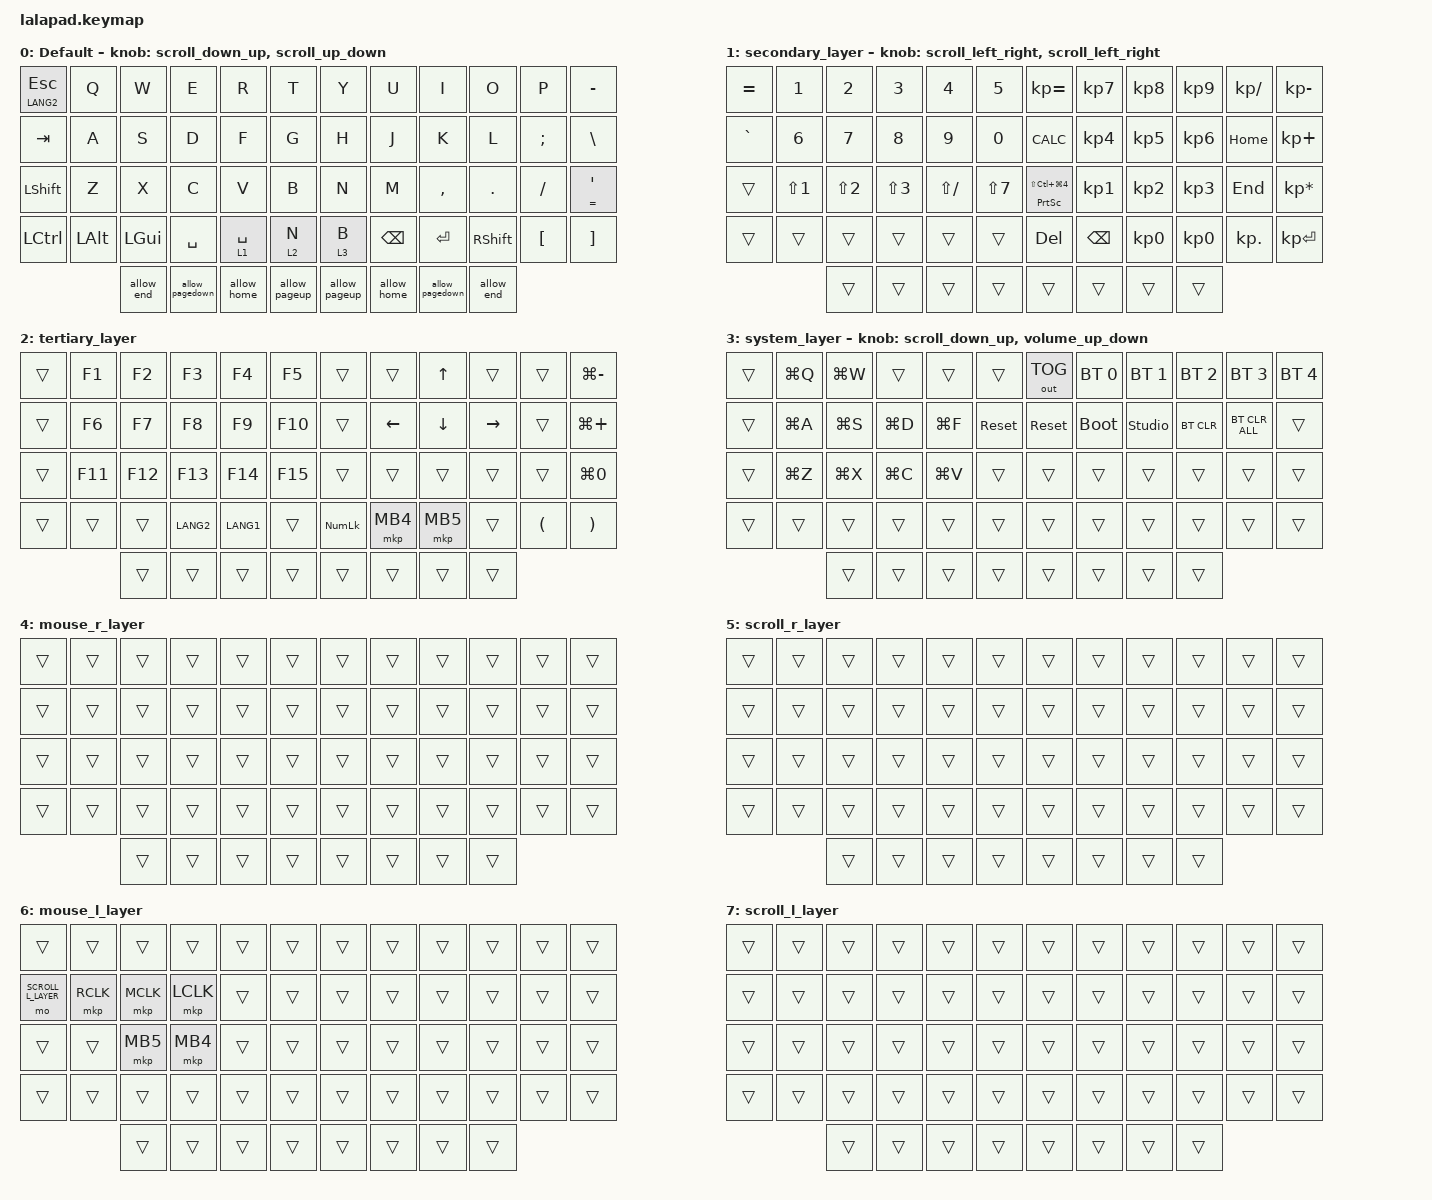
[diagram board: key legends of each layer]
#include <input/processors.dtsi>
#include <behaviors.dtsi>
#include <dt-bindings/zmk/bt.h>
#include <dt-bindings/zmk/keys.h>
#include <dt-bindings/zmk/outputs.h>
#include <dt-bindings/zmk/pointing.h>

#define DEFAULT_LAYER   0
#define SECONDARY_LAYER 1
#define TERTIARY_LAYER  2
#define SYSTEM_LAYER    3
#define MOUSE_R_LAYER   4
#define SCROLL_R_LAYER  5
#define MOUSE_L_LAYER   6
#define SCROLL_L_LAYER  7

// Mouse Scroll Value

#ifndef ZMK_POINTING_DEFAULT_SCRL_VAL

#define ZMK_POINTING_DEFAULT_SCRL_VAL 100

#endif

// cirque trackpad input&layer control

&glidepoint_listener_R {
    input-processors =
        <&zip_xy_transform (INPUT_TRANSFORM_XY_SWAP | INPUT_TRANSFORM_X_INVERT | INPUT_TRANSFORM_Y_INVERT)>,
        <&zip_xy_scaler 3 2>,
        <&zip_temp_layer MOUSE_R_LAYER 500>;

    lowspeedmode {
        layers = <SECONDARY_LAYER>;
        input-processors =
            <&zip_xy_transform (INPUT_TRANSFORM_XY_SWAP | INPUT_TRANSFORM_X_INVERT | INPUT_TRANSFORM_Y_INVERT)>,
            <&zip_xy_scaler 3 5>,
            <&zip_temp_layer MOUSE_R_LAYER 500>;
    };

    scroller {
        layers = <SCROLL_R_LAYER>;
        input-processors =
            <&zip_xy_to_scroll_mapper>,
            <&zip_scroll_transform (INPUT_TRANSFORM_XY_SWAP | INPUT_TRANSFORM_Y_INVERT)>,
            <&zip_scroll_scaler 1 8>;
    };
};

&glidepoint_listener_L {
    input-processors =
        <&zip_xy_transform (INPUT_TRANSFORM_XY_SWAP | INPUT_TRANSFORM_X_INVERT | INPUT_TRANSFORM_Y_INVERT)>,
        <&zip_xy_scaler 3 2>,
        <&zip_temp_layer MOUSE_L_LAYER 500>;

    lowspeedmode {
        layers = <SECONDARY_LAYER>;
        input-processors =
            <&zip_xy_transform (INPUT_TRANSFORM_XY_SWAP | INPUT_TRANSFORM_X_INVERT | INPUT_TRANSFORM_Y_INVERT)>,
            <&zip_xy_scaler 3 4>,
            <&zip_temp_layer MOUSE_L_LAYER 500>;
    };

    scroller {
        layers = <SCROLL_L_LAYER>;
        input-processors =
            <&zip_xy_to_scroll_mapper>,
            <&zip_scroll_transform (INPUT_TRANSFORM_XY_SWAP | INPUT_TRANSFORM_Y_INVERT)>,
            <&zip_scroll_scaler 1 6>;
    };
};

/ {
    behaviors {
        // Encoder to Mouse Scroll

        scroll_up_down: sensor_scroll_up_down {
            compatible = "zmk,behavior-sensor-rotate";
            #sensor-binding-cells = <0>;
            bindings = <&msc SCRL_UP>, <&msc SCRL_DOWN>;

            tap-ms = <20>;
            label = "SCROLL_UP_DOWN";
        };

        scroll_down_up: sensor_scroll_down_up {
            compatible = "zmk,behavior-sensor-rotate";
            #sensor-binding-cells = <0>;
            bindings = <&msc SCRL_DOWN>, <&msc SCRL_UP>;

            tap-ms = <20>;
            label = "SCROLL_DOWN_UP";
        };

        scroll_left_right: sensor_scroll_left_right {
            compatible = "zmk,behavior-sensor-rotate";
            #sensor-binding-cells = <0>;
            bindings = <&msc SCRL_LEFT>, <&msc SCRL_RIGHT>;

            tap-ms = <20>;
            label = "SCROLL_LEFT_RIGHT";
        };

        scroll_right_left: sensor_scroll_right_left {
            compatible = "zmk,behavior-sensor-rotate";
            #sensor-binding-cells = <0>;
            bindings = <&msc SCRL_RIGHT>, <&msc SCRL_LEFT>;

            tap-ms = <20>;
            label = "SCROLL_RIGHT_LEFT";
        };

        volume_up_down: sensor_volume_up_down {
            compatible = "zmk,behavior-sensor-rotate";
            #sensor-binding-cells = <0>;
            bindings = <&kp C_VOLUME_UP>, <&kp C_VOLUME_DOWN>;

            tap-ms = <20>;
            label = "VOLUME_UP_DOWN";
        };

        dot_comma: dot_comma {
            compatible = "zmk,behavior-mod-morph";
            #binding-cells = <0>;
            bindings = <&kp KP_DOT>, <&kp COMMA>;

            mods = <(MOD_LSFT|MOD_RSFT)>;
            label = "DOT_COMMA";
        };

        pls_minus: pls_minus {
            compatible = "zmk,behavior-mod-morph";
            #binding-cells = <0>;
            bindings = <&kp PLUS>, <&kp MINUS>;

            mods = <(MOD_LSFT|MOD_RSFT)>;
            label = "PLS_MINUS";
        };

        allow_pageup: allow_pageup {
            compatible = "zmk,behavior-mod-morph";
            #binding-cells = <0>;
            bindings = <&kp UP>, <&kp PAGE_UP>;

            mods = <(MOD_LCTL|MOD_RCTL)>;
            label = "ALLOW_PAGEUP";
        };

        allow_pagedown: allow_pagedown {
            compatible = "zmk,behavior-mod-morph";
            #binding-cells = <0>;
            bindings = <&kp DOWN>, <&kp PAGE_DOWN>;

            mods = <(MOD_LCTL|MOD_RCTL)>;
            label = "ALLOW_PAGEDOWN";
        };

        allow_home: allow_home {
            compatible = "zmk,behavior-mod-morph";
            #binding-cells = <0>;
            bindings = <&kp LEFT>, <&kp HOME>;

            mods = <(MOD_LCTL|MOD_RCTL)>;
            label = "ALLOW_HOME";
        };

        allow_end: allow_end {
            compatible = "zmk,behavior-mod-morph";
            #binding-cells = <0>;
            bindings = <&kp RIGHT>, <&kp END>;

            mods = <(MOD_LCTL|MOD_RCTL)>;
            label = "ALLOW_END";
        };

        mt2: mod_tap2 {
            compatible = "zmk,behavior-hold-tap";
            #binding-cells = <2>;
            flavor = "tap-preferred";
            tapping-term-ms = <200>;
            quick-tap-ms = <200>;
            require-prior-idle-ms = <125>;
            bindings = <&kp>, <&kp>;
        };
    };

    keymap {
        compatible = "zmk,keymap";

        DEFAULT_LAYER {
            display-name = "Default";
            sensor-bindings = <&scroll_down_up>, <&scroll_up_down>;

            bindings = <
&mt2 LANG2 ESC  &kp Q         &kp W         &kp E            &kp R        &kp T          &kp Y          &kp U          &kp I            &kp O            &kp P             &kp MINUS
&kp TAB         &kp A         &kp S         &kp D            &kp F        &kp G          &kp H          &kp J          &kp K            &kp L            &kp SEMI          &kp BSLH
&kp LSHFT       &kp Z         &kp X         &kp C            &kp V        &kp B          &kp N          &kp M          &kp COMMA        &kp PERIOD       &kp SLASH         &mt EQUAL SQT
&kp LCTRL       &kp LEFT_ALT  &kp LEFT_GUI  &kp SPACE        &lt 1 SPACE  &lt 2 N        &lt 3 B        &kp BACKSPACE  &kp RET          &kp RIGHT_SHIFT  &kp LEFT_BRACKET  &kp RIGHT_BRACKET
                              &allow_end    &allow_pagedown  &allow_home  &allow_pageup  &allow_pageup  &allow_home    &allow_pagedown  &allow_end
            >;
        };

        SECONDARY_LAYER {
            display-name = "secondary_layer";
            sensor-bindings = <&scroll_left_right>, <&scroll_left_right>;

            bindings = <
&kp EQUAL  &kp NUMBER_1      &kp NUMBER_2      &kp NUMBER_3      &kp NUMBER_4   &kp NUMBER_5  &kp KP_EQUAL                     &kp KP_NUMBER_7  &kp KP_NUMBER_8  &kp KP_NUMBER_9  &kp KP_DIVIDE  &kp KP_MINUS
&kp GRAVE  &kp NUMBER_6      &kp NUMBER_7      &kp NUMBER_8      &kp NUMBER_9   &kp NUMBER_0  &kp K_CALC                       &kp KP_NUMBER_4  &kp KP_NUMBER_5  &kp KP_NUMBER_6  &kp HOME       &kp KP_PLUS
&trans     &kp LS(NUMBER_1)  &kp LS(NUMBER_2)  &kp LS(NUMBER_3)  &kp LS(SLASH)  &kp LS(N7)    &mt2 PRINTSCREEN LS(LC(LG(N4)))  &kp KP_NUMBER_1  &kp KP_NUMBER_2  &kp KP_NUMBER_3  &kp END        &kp KP_ASTERISK
&trans     &trans            &trans            &trans            &trans         &trans        &kp DELETE                       &kp BACKSPACE    &kp KP_N0        &kp KP_NUMBER_0  &kp KP_DOT     &kp KP_ENTER
                             &trans            &trans            &trans         &trans        &trans                           &trans           &trans           &trans
            >;
        };

        TERTIARY_LAYER {
            display-name = "tertiary_layer";
            bindings = <
&trans  &kp F1   &kp F2   &kp F3     &kp F4     &kp F5   &trans          &trans          &kp UP_ARROW    &trans           &trans                &kp LG(MINUS)
&trans  &kp F6   &kp F7   &kp F8     &kp F9     &kp F10  &trans          &kp LEFT_ARROW  &kp DOWN_ARROW  &kp RIGHT_ARROW  &trans                &kp LG(PLUS)
&trans  &kp F11  &kp F12  &kp F13    &kp F14    &kp F15  &trans          &trans          &trans          &trans           &trans                &kp LG(NUMBER_0)
&trans  &trans   &trans   &kp LANG2  &kp LANG1  &trans   &kp KP_NUMLOCK  &mkp MB4        &mkp MB5        &trans           &kp LEFT_PARENTHESIS  &kp RIGHT_PARENTHESIS
                 &trans   &trans     &trans     &trans   &trans          &trans          &trans          &trans
            >;
        };

        SYSTEM_LAYER {
            display-name = "system_layer";
            sensor-bindings = <&scroll_down_up>, <&volume_up_down>;

            bindings = <
&trans  &kp LG(Q)  &kp LG(W)  &trans     &trans     &trans      &out OUT_TOG  &bt BT_SEL 0  &bt BT_SEL 1    &bt BT_SEL 2  &bt BT_SEL 3    &bt BT_SEL 4
&trans  &kp LG(A)  &kp LG(S)  &kp LG(D)  &kp LG(F)  &sys_reset  &sys_reset    &bootloader   &studio_unlock  &bt BT_CLR    &bt BT_CLR_ALL  &trans
&trans  &kp LG(Z)  &kp LG(X)  &kp LG(C)  &kp LG(V)  &trans      &trans        &trans        &trans          &trans        &trans          &trans
&trans  &trans     &trans     &trans     &trans     &trans      &trans        &trans        &trans          &trans        &trans          &trans
                   &trans     &trans     &trans     &trans      &trans        &trans        &trans          &trans
            >;
        };

        MOUSE_R_LAYER {
            display-name = "mouse_r_layer";
            bindings = <
&trans  &trans  &trans  &trans  &trans  &trans  &trans  &trans  &trans  &trans  &trans  &trans
&trans  &trans  &trans  &trans  &trans  &trans  &trans  &trans  &trans  &trans  &trans  &trans
&trans  &trans  &trans  &trans  &trans  &trans  &trans  &trans  &trans  &trans  &trans  &trans
&trans  &trans  &trans  &trans  &trans  &trans  &trans  &trans  &trans  &trans  &trans  &trans
                &trans  &trans  &trans  &trans  &trans  &trans  &trans  &trans
            >;
        };

        SCROLL_R_LAYER {
            display-name = "scroll_r_layer";
            bindings = <
&trans  &trans  &trans  &trans  &trans  &trans  &trans  &trans  &trans  &trans  &trans  &trans
&trans  &trans  &trans  &trans  &trans  &trans  &trans  &trans  &trans  &trans  &trans  &trans
&trans  &trans  &trans  &trans  &trans  &trans  &trans  &trans  &trans  &trans  &trans  &trans
&trans  &trans  &trans  &trans  &trans  &trans  &trans  &trans  &trans  &trans  &trans  &trans
                &trans  &trans  &trans  &trans  &trans  &trans  &trans  &trans
            >;
        };

        MOUSE_L_LAYER {
            display-name = "mouse_l_layer";
            bindings = <
&trans              &trans     &trans     &trans     &trans  &trans  &trans  &trans  &trans  &trans  &trans  &trans
&mo SCROLL_L_LAYER  &mkp RCLK  &mkp MCLK  &mkp LCLK  &trans  &trans  &trans  &trans  &trans  &trans  &trans  &trans
&trans              &trans     &mkp MB5   &mkp MB4   &trans  &trans  &trans  &trans  &trans  &trans  &trans  &trans
&trans              &trans     &trans     &trans     &trans  &trans  &trans  &trans  &trans  &trans  &trans  &trans
                               &trans     &trans     &trans  &trans  &trans  &trans  &trans  &trans
            >;
        };

        SCROLL_L_LAYER {
            display-name = "scroll_l_layer";
            bindings = <
&trans  &trans  &trans  &trans  &trans  &trans  &trans  &trans  &trans  &trans  &trans  &trans
&trans  &trans  &trans  &trans  &trans  &trans  &trans  &trans  &trans  &trans  &trans  &trans
&trans  &trans  &trans  &trans  &trans  &trans  &trans  &trans  &trans  &trans  &trans  &trans
&trans  &trans  &trans  &trans  &trans  &trans  &trans  &trans  &trans  &trans  &trans  &trans
                &trans  &trans  &trans  &trans  &trans  &trans  &trans  &trans
            >;
        };
    };
};
